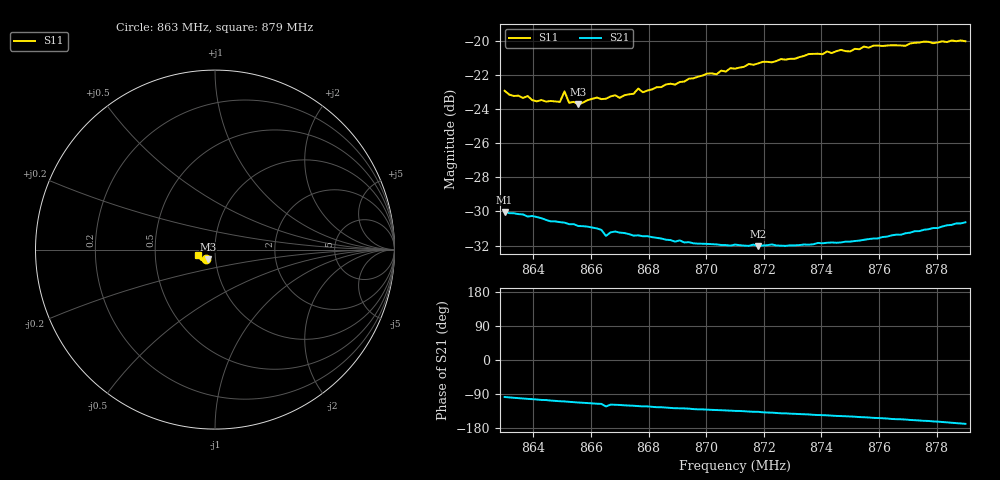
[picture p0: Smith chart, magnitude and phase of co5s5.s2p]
# HZ S RI R 50
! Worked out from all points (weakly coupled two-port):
!   101 points, 863 MHz to 879 MHz, reference 50 ohm
!   highest |S21| = -30.03 dB at 863 MHz (marker M1); lowest = -32.0 dB at 871.8 MHz (marker M2)
!   lowest |S11| = -23.7 dB at 865.56 MHz (marker M3), VSWR 1.14, Z = 46 - j4.84 ohm
!   |S11| at or under -10 dB: start of sweep to end of sweep
!   S12 and S22 are empty: the file has one direction only
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8.63e8  -0.0487 -0.0521  -0.00419 -0.0312  0 0  0 0
8.638e8  -0.0449 -0.0522  -0.00668 -0.0298  0 0  0 0
8.6412e8  -0.0416 -0.0518  -0.00749 -0.0295  0 0  0 0
8.6492e8  -0.0403 -0.0525  -0.00949 -0.0279  0 0  0 0
8.6508e8  -0.0461 -0.0541  -0.00972 -0.0277  0 0  0 0
8.6524e8  -0.0396 -0.0526  -0.0101 -0.0272  0 0  0 0
8.6556e8  -0.0387 -0.0524  -0.0108 -0.0265  0 0  0 0
8.6572e8  -0.038 -0.0538  -0.0112 -0.0264  0 0  0 0
8.662e8  -0.0383 -0.0564  -0.0121 -0.0255  0 0  0 0
8.6636e8  -0.039 -0.055  -0.0122 -0.0251  0 0  0 0
8.6652e8  -0.0379 -0.056  -0.0145 -0.0226  0 0  0 0
8.6684e8  -0.0388 -0.0574  -0.013 -0.0243  0 0  0 0
8.67e8  -0.0377 -0.0567  -0.0132 -0.024  0 0  0 0
8.6748e8  -0.038 -0.0587  -0.0138 -0.0231  0 0  0 0
8.6764e8  -0.0406 -0.06  -0.0141 -0.0229  0 0  0 0
8.678e8  -0.0396 -0.0585  -0.0143 -0.0226  0 0  0 0
8.6844e8  -0.0407 -0.0608  -0.015 -0.0217  0 0  0 0
8.71e8  -0.0519 -0.0646  -0.0177 -0.0181  0 0  0 0
8.718e8  -0.0568 -0.0643  -0.0182 -0.0171  0 0  0 0
8.7372e8  -0.0675 -0.0618  -0.0207 -0.0147  0 0  0 0
8.7644e8  -0.0841 -0.0483  -0.0245 -0.0111  0 0  0 0
8.79e8  -0.0951 -0.0297  -0.0288 -0.00589  0 0  0 0
